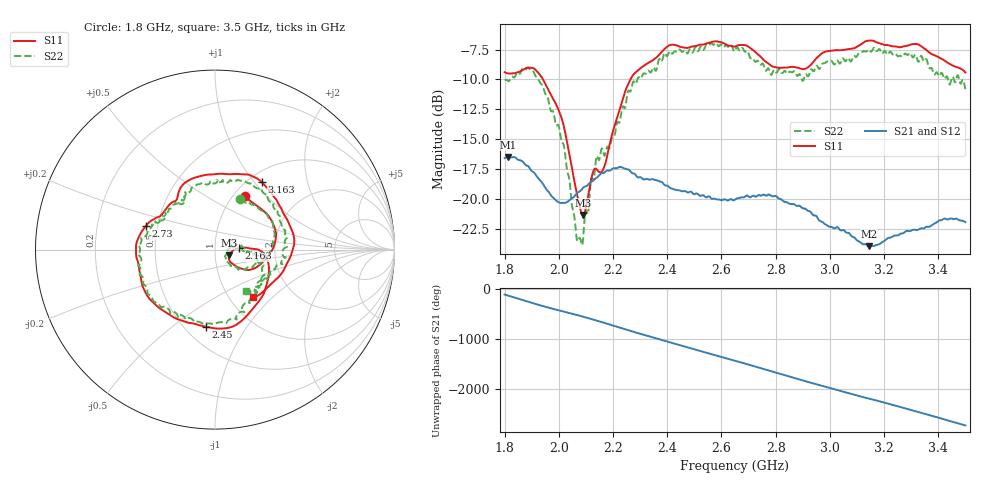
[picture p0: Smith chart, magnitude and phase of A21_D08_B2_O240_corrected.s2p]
! Created with skrf 1.9.0 (http://scikit-rf.org).
# Hz S RI R 50.0
!freq ReS11 ImS11 ReS21 ImS21 ReS12 ImS12 ReS22 ImS22
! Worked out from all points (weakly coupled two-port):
!   1601 points, 1.8 GHz to 3.5 GHz, reference 50 ohm
!   highest |S21| = -16.48 dB at 1.812 GHz (marker M1); lowest = -23.9 dB at 3.144 GHz (marker M2)
!   lowest |S11| = -21.3 dB at 2.09 GHz (marker M3), VSWR 1.19, Z = 58.6 - j3.69 ohm
!   |S11| at or under -10 dB: 1.942 GHz to 2.264 GHz (322.2 MHz wide, 15.3 % of centre)
!   |S22| runs from -23.9 to -6.9 dB; largest |S21 - S12| = 0.0029
!   S11 on the Smith chart (normalised r, x): 1.8 GHz: 1.13, +0.76; 2.163 GHz: 1.31, +0.02; 2.45 GHz: 0.63, -0.67; 2.73 GHz: 0.43, +0.14; 3.163 GHz: 1.15, +1.10; 3.5 GHz: 1.27, -0.76
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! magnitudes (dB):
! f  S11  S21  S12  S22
! 1.8 GHz  -9.4  -16.6  -16.6  -10.1
! 1.812 GHz  -9.5  -16.5  -16.5  -10.1
! 1.887 GHz  -9.0  -17.2  -17.3  -9.0
! 1.94 GHz  -9.9  -18.7  -18.7  -10.5
! 2.011 GHz  -13.3  -20.3  -20.3  -15.3
! 2.065 GHz  -19.3  -19.6  -19.6  -23.1
! 2.084 GHz  -21.1  -19.2  -19.2  -23.7
! 2.09 GHz  -21.3  -19.0  -19.1  -23.2
! 2.128 GHz  -17.6  -18.4  -18.4  -18.4
! 2.163 GHz  -17.5  -17.8  -17.8  -16.0
! 2.26 GHz  -10.2  -17.6  -17.6  -11.0
! 2.367 GHz  -8.0  -18.5  -18.4  -8.5
! 2.45 GHz  -7.3  -19.3  -19.3  -7.6
! 2.65 GHz  -7.2  -20.0  -20.0  -7.6
! 2.73 GHz  -7.8  -19.8  -19.8  -8.5
! 2.8 GHz  -9.0  -19.7  -19.8  -9.4
! 2.934 GHz  -8.7  -21.2  -21.2  -9.2
! 3.144 GHz  -6.8  -23.9  -23.9  -7.5
! 3.163 GHz  -6.8  -23.9  -23.9  -7.4
! 3.217 GHz  -7.1  -23.2  -23.2  -7.8
! 3.325 GHz  -7.1  -22.6  -22.6  -8.5
! 3.5 GHz  -9.4  -21.9  -21.9  -10.8
